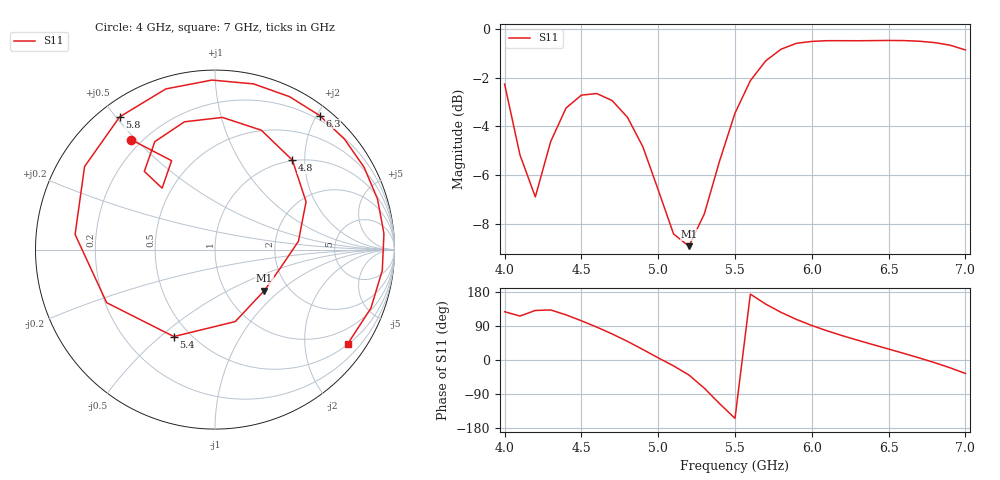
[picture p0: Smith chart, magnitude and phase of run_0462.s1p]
! Touchstone file exported from HFSS 2024.2.0
!  File:  C:/Users/wsak9/Desktop/Sim Fast/Widenad Patch/WP_AI_V1_sweep.aedt
!  Generated:  11:10:35 AM Oct 14, 2026
!  Design:  A1_model
!  Project:  WP_AI_V1_sweep
!  Setup:  Setup1
!  Solution:  Sweep
! Variables:
!  Air_gap = 2.68mm
!  Curve_Amp1 = 2.56
!  Curve_len1 = 1
!  Curve_pos = 12.83mm
!  Extra = 6.35mm
!  H_sub = 0.79mm
!  L_Patch = 21.66mm
!  L_Patch1 = 19.11mm
!  Sx = 1.35mm
!  Sy = 1.85mm
!  WS = 0.55mm
!  W_Patch = 13.61mm
!  W_Patch1 = 12.76mm
!Data is not renormalized
# GHz S MA
! Terminal data exported
! Port[1] = 1
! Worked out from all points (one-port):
!   31 points, 4 GHz to 7 GHz, reference per port
!   lowest |S11| = -8.9 dB at 5.2 GHz (marker M1), VSWR 2.11
!   |S11| at or under -10 dB: nowhere
!   S11 on the Smith chart (normalised r, x): 4 GHz: 0.16, +0.48; 4.8 GHz: 0.99, +1.74; 5.4 GHz: 0.41, -0.55; 5.8 GHz: 0.06, +0.51; 6.3 GHz: 0.14, +2.04; 7 GHz: 0.51, -3.04
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4  0.7714 127.4
4.1  0.5512 116.0
4.2  0.4517 130.7
4.3  0.5873 132.1
4.4  0.6887 119.1
4.5  0.7321 103.5
4.6  0.7377 86.8
4.7  0.7134 68.8
4.8  0.659 49.1
4.9  0.5731 27.7
5  0.467 5.7
5.1  0.3789 -15.5
5.2  0.3575 -39.6
5.3  0.4165 -74.3
5.4  0.536 -115.3
5.5  0.6721 -153.9
5.6  0.7841 173.8
5.7  0.8614 147.5
5.8  0.9104 125.7
5.9  0.9362 107.0
6  0.9447 91.1
6.1  0.9479 76.9
6.3  0.9476 52.0
6.5  0.9489 28.9
6.7  0.9455 5.4
6.8  0.9392 -7.1
6.9  0.9279 -20.6
7  0.9072 -35.5
